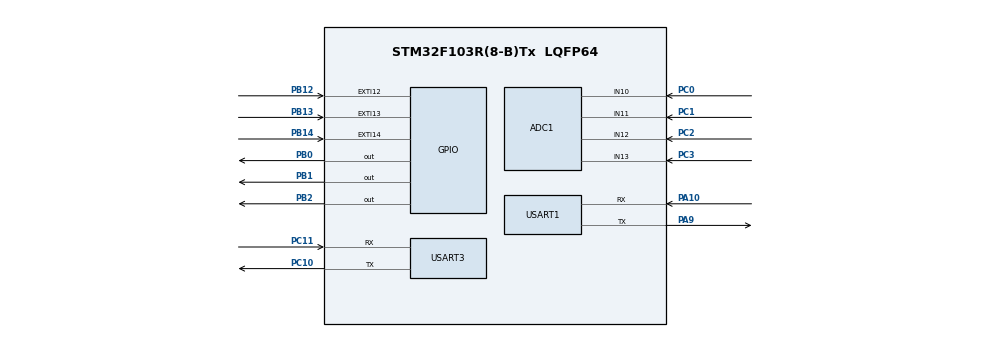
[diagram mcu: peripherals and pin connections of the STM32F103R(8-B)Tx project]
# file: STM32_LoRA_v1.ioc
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ADC1.Channel-0\#ChannelRegularConversion=ADC_CHANNEL_10
ADC1.Channel-1\#ChannelRegularConversion=ADC_CHANNEL_10
ADC1.Channel-2\#ChannelRegularConversion=ADC_CHANNEL_10
ADC1.Channel-3\#ChannelRegularConversion=ADC_CHANNEL_10
ADC1.ExternalTrigConv=ADC_EXTERNALTRIGCONV_T3_TRGO
ADC1.NbrOfConversion=4
ADC1.NbrOfConversionFlag=1
ADC1.Rank-0\#ChannelRegularConversion=1
ADC1.Rank-1\#ChannelRegularConversion=2
ADC1.Rank-2\#ChannelRegularConversion=3
ADC1.Rank-3\#ChannelRegularConversion=4
ADC1.SamplingTime-0\#ChannelRegularConversion=ADC_SAMPLETIME_1CYCLE_5
ADC1.SamplingTime-1\#ChannelRegularConversion=ADC_SAMPLETIME_1CYCLE_5
ADC1.SamplingTime-2\#ChannelRegularConversion=ADC_SAMPLETIME_1CYCLE_5
ADC1.SamplingTime-3\#ChannelRegularConversion=ADC_SAMPLETIME_1CYCLE_5
ADC1.master=1
Dma.ADC1.0.Direction=DMA_PERIPH_TO_MEMORY
Dma.ADC1.0.Instance=DMA1_Channel1
Dma.ADC1.0.MemDataAlignment=DMA_MDATAALIGN_HALFWORD
Dma.ADC1.0.MemInc=DMA_MINC_ENABLE
Dma.ADC1.0.Mode=DMA_CIRCULAR
Dma.ADC1.0.PeriphDataAlignment=DMA_PDATAALIGN_HALFWORD
Dma.ADC1.0.PeriphInc=DMA_PINC_DISABLE
Dma.ADC1.0.Priority=DMA_PRIORITY_HIGH
Dma.Request0=ADC1
Mcu.Family=STM32F1
Mcu.Name=STM32F103R(8-B)Tx
Mcu.Package=LQFP64
NVIC.DMA1_Channel1_IRQn=true\:0\:0\:false\:false\:true\:false
NVIC.EXTI15_10_IRQn=true\:0\:0\:false\:false\:true\:true
NVIC.PriorityGroup=NVIC_PRIORITYGROUP_4
NVIC.TIM2_IRQn=true\:0\:0\:false\:false\:true\:true
NVIC.TIM3_IRQn=true\:0\:0\:false\:false\:true\:true
NVIC.USART1_IRQn=true\:0\:0\:false\:false\:true\:true
NVIC.USART3_IRQn=true\:0\:0\:false\:false\:true\:true
PA10.Mode=Asynchronous
PA10.Signal=USART1_RX
PA13.Mode=Serial_Wire
PA13.Signal=SYS_JTMS-SWDIO
PA14.Mode=Serial_Wire
PA14.Signal=SYS_JTCK-SWCLK
PA9.Mode=Asynchronous
PA9.Signal=USART1_TX
PB0.Signal=GPIO_Output
PB1.Signal=GPIO_Output
PB12.Signal=GPXTI12
PB13.Signal=GPXTI13
PB14.Signal=GPXTI14
PB2.Signal=GPIO_Output
PC0.Signal=ADCx_IN10
PC1.Signal=ADCx_IN11
PC10.Mode=Asynchronous
PC10.Signal=USART3_TX
PC11.Mode=Asynchronous
PC11.Signal=USART3_RX
PC2.Signal=ADCx_IN12
PC3.Signal=ADCx_IN13
PD0-OSC_IN.Mode=HSE-External-Oscillator
PD0-OSC_IN.Signal=RCC_OSC_IN
PD1-OSC_OUT.Mode=HSE-External-Oscillator
PD1-OSC_OUT.Signal=RCC_OSC_OUT
ProjectManager.HeapSize=0x200
ProjectManager.StackSize=0x400
ProjectManager.TargetToolchain=MDK-ARM V5
RCC.ADCPresc=RCC_ADCPCLK2_DIV6
RCC.AHBFreq_Value=72000000
RCC.APB1CLKDivider=RCC_HCLK_DIV2
RCC.APB1Freq_Value=36000000
RCC.APB1TimFreq_Value=72000000
RCC.APB2Freq_Value=72000000
RCC.APB2TimFreq_Value=72000000
RCC.HCLKFreq_Value=72000000
RCC.PLLMUL=RCC_PLL_MUL9
RCC.PLLSourceVirtual=RCC_PLLSOURCE_HSE
RCC.SYSCLKFreq_VALUE=72000000
RCC.SYSCLKSource=RCC_SYSCLKSOURCE_PLLCLK
RCC.USBFreq_Value=72000000
SH.ADCx_IN10.0=ADC1_IN10,IN10
SH.ADCx_IN11.0=ADC1_IN11,IN11
SH.ADCx_IN12.0=ADC1_IN12,IN12
SH.ADCx_IN13.0=ADC1_IN13,IN13
TIM2.Prescaler=50000
TIM3.TIM_MasterOutputTrigger=TIM_TRGO_UPDATE
USART1.VirtualMode=VM_ASYNC
USART3.VirtualMode=VM_ASYNC
VP_TIM2_VS_ClockSourceINT.Mode=Internal
VP_TIM3_VS_ClockSourceINT.Mode=Internal
board=custom

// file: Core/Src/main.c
/* USER CODE BEGIN Header */
/**
  ******************************************************************************
  * @file           : main.c
  * @brief          : Main program body
  ******************************************************************************
  ** This notice applies to any and all portions of this file
  * that are not between comment pairs USER CODE BEGIN and
  * USER CODE END. Other portions of this file, whether
  * inserted by the user or by software development tools
  * are owned by their respective copyright owners.
  *
  * COPYRIGHT(c) 2019 STMicroelectronics
  *
  * Redistribution and use in source and binary forms, with or without modification,
  * are permitted provided that the following conditions are met:
  *   1. Redistributions of source code must retain the above copyright notice,
  *      this list of conditions and the following disclaimer.
  *   2. Redistributions in binary form must reproduce the above copyright notice,
  *      this list of conditions and the following disclaimer in the documentation
  *      and/or other materials provided with the distribution.
  *   3. Neither the name of STMicroelectronics nor the names of its contributors
  *      may be used to endorse or promote products derived from this software
  *      without specific prior written permission.
  *
  * THIS SOFTWARE IS PROVIDED BY THE COPYRIGHT HOLDERS AND CONTRIBUTORS "AS IS"
  * AND ANY EXPRESS OR IMPLIED WARRANTIES, INCLUDING, BUT NOT LIMITED TO, THE
  * IMPLIED WARRANTIES OF MERCHANTABILITY AND FITNESS FOR A PARTICULAR PURPOSE ARE
  * DISCLAIMED. IN NO EVENT SHALL THE COPYRIGHT HOLDER OR CONTRIBUTORS BE LIABLE
  * FOR ANY DIRECT, INDIRECT, INCIDENTAL, SPECIAL, EXEMPLARY, OR CONSEQUENTIAL
  * DAMAGES (INCLUDING, BUT NOT LIMITED TO, PROCUREMENT OF SUBSTITUTE GOODS OR
  * SERVICES; LOSS OF USE, DATA, OR PROFITS; OR BUSINESS INTERRUPTION) HOWEVER
  * CAUSED AND ON ANY THEORY OF LIABILITY, WHETHER IN CONTRACT, STRICT LIABILITY,
  * OR TORT (INCLUDING NEGLIGENCE OR OTHERWISE) ARISING IN ANY WAY OUT OF THE USE
  * OF THIS SOFTWARE, EVEN IF ADVISED OF THE POSSIBILITY OF SUCH DAMAGE.
  *
  ******************************************************************************
  */
/* USER CODE END Header */

#include "main.h"
#include "string.h"
#include "stdio.h"
#include "DS18B20.h"

uint8_t Radio_OK_Received = 0;
uint8_t Radio_NOK_received = 0;
uint8_t AT_NOK_Received = 1;
#define ADC_DELAY_ENABLE_CALIB_CPU_CYCLES  (LL_ADC_DELAY_ENABLE_CALIB_ADC_CYCLES * 32)
#define ADC_CONVERTED_DATA_BUFFER_SIZE   ((uint32_t)   4)
__IO uint16_t aADCxConvertedData[4]; /* ADC group regular conversion data */
__IO uint16_t MQ2A_Data, MQ2B_Data, FRAMECLICK_Data, DS18B20_Data  = 0;
__IO uint8_t MQ2A_Data_Ok, MQ2B_Data_Ok, FRAMECLICK_Data_Ok, DS18B20_Data_Ok = 0;
__IO uint8_t ASCII_CODE[16] = {"0123456789ABCDEF"};

void SystemClock_Config(void);
static void MX_GPIO_Init(void);
static void MX_DMA_Init(void);
static void MX_USART1_UART_Init(void);
static void MX_USART3_UART_Init(void);
static void MX_ADC1_Init(void);
static void MX_TIM2_Init(void);
static void MX_TIM3_Init(void);

/* USER CODE BEGIN 0 */
int fputc (int ch, FILE *stream)
{
	while(!LL_USART_IsActiveFlag_TXE(USART1));
	LL_USART_TransmitData8(USART1,ch);
	return ch ;
}
void delay(uint32_t ms)
{
	uint32_t i,y;
	for(i=0; i<ms; i++)
	{
		for(y = 0; y<7200; y++)
		{
			__NOP();
		}
	}
}
    /* USER CODE END WHILE */
		//LL_GPIO_TogglePin(GPIOB, LL_GPIO_PIN_1)	;
uint8_t AtCmd_AT[4] = "AT\r\n";
uint8_t AtCmd_Poll[1] = "$";
uint32_t AT_timeout = 3;
uint8_t AT_cnt = 0;
void AT_poll()
{
	Radio_OK_Received = 0;
	while(!LL_USART_IsActiveFlag_TXE(USART3));
	LL_USART_TransmitData8(USART3,'$');
}

uint8_t AT_send(uint8_t *cmd)
{
	uint8_t Cmd_Ok = 0;
	AT_cnt = AT_timeout;
	AT_poll();
	while(!Radio_OK_Received)
	{
		delay(100);
		if(AT_cnt ==0 )
		{
			return 0;
		}else if (Radio_NOK_received)
		{
			Radio_NOK_received = 0;
			return 0 ;
		}
		AT_cnt--;

	}
	Radio_OK_Received = 0;
	uint8_t i = 0;

	for( i = 0; i<6; i++)
	{
		while(!LL_USART_IsActiveFlag_TXE(USART3));
		LL_USART_TransmitData8(USART3,cmd[i]);
		while(!LL_USART_IsActiveFlag_TXE(USART1));
		LL_USART_TransmitData8(USART1,cmd[i]);
	}

	return 1;
}

/* USER CODE END 0 */

float temprature = 0;
__IO uint16_t _temprature = 0;
int main(void)
{

  /* MCU Configuration--------------------------------------------------------*/
  LL_GPIO_AF_Remap_SWJ_NOJTAG();

  /* Reset of all peripherals, Initializes the Flash interface and the Systick. */

  LL_APB2_GRP1_EnableClock(LL_APB2_GRP1_PERIPH_AFIO);
  LL_APB1_GRP1_EnableClock(LL_APB1_GRP1_PERIPH_PWR);

  NVIC_SetPriorityGrouping(NVIC_PRIORITYGROUP_4);

  /* System interrupt init*/

  /* Configure the system clock */
  SystemClock_Config();

  /* Initialize all configured peripherals */
  MX_GPIO_Init();

  MX_USART1_UART_Init();
  MX_USART3_UART_Init();
	MX_TIM2_Init();
	MX_TIM3_Init();
	MX_ADC1_Init();
  MX_DMA_Init();
  uint8_t a = DS18B20_Init();

	printf("\r\n\fHello World123\r\n");
	__IO uint8_t Msg_Frame[6]="LLLLLL";
	__IO uint8_t Msg_MQ2A[6] = "MMMMMM";
	__IO uint8_t Msg_MQ2B[6] = "NNNNNN";
	__IO uint8_t Msg_DS18B20[6] ="TTTTTT";
	LL_APB2_GRP1_EnableClock(LL_APB2_GRP1_PERIPH_GPIOC);
  /* Infinite loop */
  /* USER CODE BEGIN WHILE */
	printf("hello world\r\n");
  while (1)
  {

		__disable_irq();

		temprature = DS18B20_GetTemp_SkipRom();
		_temprature = temprature*10;
		//printf(" %d\r\n", _temprature);
		Msg_DS18B20[4] = ASCII_CODE[(_temprature)&0x0f];
		Msg_DS18B20[3] = ASCII_CODE[ _temprature>>4& 0x0f ];
		Msg_DS18B20[2] = ASCII_CODE[(_temprature>>8)&0x0f];
		Msg_DS18B20[1] = ASCII_CODE[_temprature>>12&0x0f];
		__enable_irq();

		AT_send(Msg_DS18B20);
		uint8_t i = 0;

		if(MQ2A_Data_Ok)
		{
			MQ2A_Data_Ok = 0;
			Msg_MQ2A[4] = ASCII_CODE[MQ2A_Data&0x0f];
			Msg_MQ2A[3] = ASCII_CODE[MQ2A_Data>>4& 0x0f];
			Msg_MQ2A[2] = ASCII_CODE[MQ2A_Data>>8&0x0f];
			Msg_MQ2A[1] = ASCII_CODE[MQ2A_Data>>12&0x0f];
			AT_send(Msg_MQ2A);
		}
		if(MQ2B_Data_Ok)
		{
			MQ2B_Data_Ok = 0;
			Msg_MQ2B[4] = ASCII_CODE[MQ2B_Data&0x0f];
			Msg_MQ2B[3] = ASCII_CODE[MQ2B_Data>>4& 0x0f];
			Msg_MQ2B[2] = ASCII_CODE[MQ2B_Data>>8&0x0f];
			Msg_MQ2B[1] = ASCII_CODE[MQ2B_Data>>12&0x0f];
			AT_send(Msg_MQ2B);
		}

		if(FRAMECLICK_Data_Ok)
		{
			FRAMECLICK_Data_Ok = 0;
			Msg_Frame[4] = ASCII_CODE[FRAMECLICK_Data&0x0f];
			Msg_Frame[3] = ASCII_CODE[FRAMECLICK_Data>>4& 0x0f];
			Msg_Frame[2] = ASCII_CODE[FRAMECLICK_Data>>8&0x0f];
			Msg_Frame[1] = ASCII_CODE[FRAMECLICK_Data>>12&0x0f];
			AT_send(Msg_Frame);
		}

		//delay(100);

		/*
		__disable_irq();
		temprature = DS18B20_GetTemp_SkipRom();
		printf("%f\r\n", temprature);
		__enable_irq();
		delay(1000);
		*/

    /* USER CODE END WHILE */
		/*
		AT_send(AtCmd_AT);
		delay(1000);

		if(Radio_OK_Received)
		{
			Radio_OK_Received = 0;
			//printf("Received AT\r\n");
		}*/

    /* USER CODE BEGIN 3 */
    /* USER CODE BEGIN 3 */
  }
  /* USER CODE END 3 */
}

void SystemClock_Config(void)
{
  LL_FLASH_SetLatency(LL_FLASH_LATENCY_2);

  if(LL_FLASH_GetLatency() != LL_FLASH_LATENCY_2)
  {
    Error_Handler();
  }
  LL_RCC_HSE_Enable();

   /* Wait till HSE is ready */
  while(LL_RCC_HSE_IsReady() != 1)
  {

  }
  LL_RCC_PLL_ConfigDomain_SYS(LL_RCC_PLLSOURCE_HSE_DIV_1, LL_RCC_PLL_MUL_9);
  LL_RCC_PLL_Enable();

   /* Wait till PLL is ready */
  while(LL_RCC_PLL_IsReady() != 1)
  {

  }
  LL_RCC_SetAHBPrescaler(LL_RCC_SYSCLK_DIV_1);
  LL_RCC_SetAPB1Prescaler(LL_RCC_APB1_DIV_2);
  LL_RCC_SetAPB2Prescaler(LL_RCC_APB2_DIV_1);
  LL_RCC_SetSysClkSource(LL_RCC_SYS_CLKSOURCE_PLL);

   /* Wait till System clock is ready */
  while(LL_RCC_GetSysClkSource() != LL_RCC_SYS_CLKSOURCE_STATUS_PLL)
  {

  }
  LL_Init1msTick(72000000);
  LL_SYSTICK_SetClkSource(LL_SYSTICK_CLKSOURCE_HCLK);
  LL_SetSystemCoreClock(72000000);
  LL_RCC_SetADCClockSource(LL_RCC_ADC_CLKSRC_PCLK2_DIV_6);
}

static void MX_ADC1_Init(void)
{
  __IO uint32_t wait_loop_index = 0;

  LL_ADC_InitTypeDef ADC_InitStruct = {0};
  LL_ADC_CommonInitTypeDef ADC_CommonInitStruct = {0};
  LL_ADC_REG_InitTypeDef ADC_REG_InitStruct = {0};

  LL_GPIO_InitTypeDef GPIO_InitStruct = {0};

  /* Peripheral clock enable */
  LL_APB2_GRP1_EnableClock(LL_APB2_GRP1_PERIPH_ADC1);

  LL_APB2_GRP1_EnableClock(LL_APB2_GRP1_PERIPH_GPIOC);
  /**ADC1 GPIO Configuration
  PC0   ------> ADC1_IN10
  PC1   ------> ADC1_IN11
  PC2   ------> ADC1_IN12
  PC3   ------> ADC1_IN13
  */
  GPIO_InitStruct.Pin = LL_GPIO_PIN_0|LL_GPIO_PIN_1|LL_GPIO_PIN_2|LL_GPIO_PIN_3;
  GPIO_InitStruct.Mode = LL_GPIO_MODE_ANALOG;
	GPIO_InitStruct.Pull = LL_GPIO_PULL_DOWN;
  LL_GPIO_Init(GPIOC, &GPIO_InitStruct);

  /* ADC1 DMA Init */

  /* ADC1 Init */
  LL_DMA_SetDataTransferDirection(DMA1, LL_DMA_CHANNEL_1, LL_DMA_DIRECTION_PERIPH_TO_MEMORY);

  LL_DMA_SetChannelPriorityLevel(DMA1, LL_DMA_CHANNEL_1, LL_DMA_PRIORITY_HIGH);

  LL_DMA_SetMode(DMA1, LL_DMA_CHANNEL_1, LL_DMA_MODE_CIRCULAR);

  LL_DMA_SetPeriphIncMode(DMA1, LL_DMA_CHANNEL_1, LL_DMA_PERIPH_NOINCREMENT);

  LL_DMA_SetMemoryIncMode(DMA1, LL_DMA_CHANNEL_1, LL_DMA_MEMORY_INCREMENT);

  LL_DMA_SetPeriphSize(DMA1, LL_DMA_CHANNEL_1, LL_DMA_PDATAALIGN_HALFWORD);

  LL_DMA_SetMemorySize(DMA1, LL_DMA_CHANNEL_1, LL_DMA_MDATAALIGN_HALFWORD);

  /**Common config
  */

  ADC_InitStruct.DataAlignment = LL_ADC_DATA_ALIGN_RIGHT;
  ADC_InitStruct.SequencersScanMode = LL_ADC_SEQ_SCAN_ENABLE;

  LL_ADC_Init(ADC1, &ADC_InitStruct);
  ADC_CommonInitStruct.Multimode = LL_ADC_MULTI_INDEPENDENT;
  LL_ADC_CommonInit(__LL_ADC_COMMON_INSTANCE(ADC1), &ADC_CommonInitStruct);
  ADC_REG_InitStruct.TriggerSource = LL_ADC_REG_TRIG_EXT_TIM3_TRGO;
  ADC_REG_InitStruct.SequencerLength = LL_ADC_REG_SEQ_SCAN_ENABLE_4RANKS;
  ADC_REG_InitStruct.SequencerDiscont = LL_ADC_REG_SEQ_DISCONT_DISABLE;
  ADC_REG_InitStruct.ContinuousMode = LL_ADC_REG_CONV_SINGLE;
  ADC_REG_InitStruct.DMATransfer = LL_ADC_REG_DMA_TRANSFER_UNLIMITED;
  LL_ADC_REG_Init(ADC1, &ADC_REG_InitStruct);

  /**Configure Regular Channel
  */

  LL_ADC_REG_SetSequencerRanks(ADC1, LL_ADC_REG_RANK_4, LL_ADC_CHANNEL_10);
  LL_ADC_SetChannelSamplingTime(ADC1, LL_ADC_CHANNEL_10, LL_ADC_SAMPLINGTIME_1CYCLE_5);
  /**Configure Regular Channel
  */
  LL_ADC_REG_SetSequencerRanks(ADC1, LL_ADC_REG_RANK_3, LL_ADC_CHANNEL_11);
  LL_ADC_SetChannelSamplingTime(ADC1, LL_ADC_CHANNEL_11, LL_ADC_SAMPLINGTIME_1CYCLE_5);
  /**Configure Regular Channel
  */
  LL_ADC_REG_SetSequencerRanks(ADC1, LL_ADC_REG_RANK_1, LL_ADC_CHANNEL_12);
  LL_ADC_SetChannelSamplingTime(ADC1, LL_ADC_CHANNEL_12, LL_ADC_SAMPLINGTIME_1CYCLE_5);
  /**Configure Regular Channel
  */
  LL_ADC_REG_SetSequencerRanks(ADC1, LL_ADC_REG_RANK_2, LL_ADC_CHANNEL_13);
  LL_ADC_SetChannelSamplingTime(ADC1, LL_ADC_CHANNEL_13, LL_ADC_SAMPLINGTIME_1CYCLE_5);
  /* USER CODE BEGIN ADC1_Init 2 */
	LL_ADC_Enable(ADC1);
	/*
	wait_loop_index = (ADC_DELAY_ENABLE_CALIB_CPU_CYCLES >> 1);
	while(wait_loop_index != 0)
	{
		wait_loop_index--;
	}
	*/
	//LL_ADC_SetMultimode(__LL_ADC_COMMON_INSTANCE(ADC1), LL_ADC_MULTI_INDEPENDENT);
	//LL_ADC_SetSequencersScanMode(ADC1, LL_ADC_SEQ_SCAN_ENABLE);
  //LL_ADC_REG_SetSequencerLength(ADC1, LL_ADC_REG_SEQ_SCAN_ENABLE_4RANKS);
	//LL_ADC_REG_SetSequencerDiscont(ADC1,LL_ADC_REG_SEQ_DISCONT_4RANKS);
	LL_ADC_REG_StartConversionSWStart(ADC1);
	//LL_ADC_REG_StartConversionExtTrig(ADC1,LL_ADC_REG_TRIG_EXT_RISING);
	LL_ADC_StartCalibration(ADC1);
		//LL_ADC_REG_StartConversionExtTrig	(ADC1,LL_ADC_REG_TRIG_EXT_RISING);
  /* USER CODE END ADC1_Init 2 */

}

static void MX_TIM2_Init(void)
{

  LL_TIM_InitTypeDef TIM_InitStruct = {0};

  /* Peripheral clock enable */
  LL_APB1_GRP1_EnableClock(LL_APB1_GRP1_PERIPH_TIM2);

  /* TIM2 interrupt Init */
  NVIC_SetPriority(TIM2_IRQn, NVIC_EncodePriority(NVIC_GetPriorityGrouping(),0, 0));
  NVIC_EnableIRQ(TIM2_IRQn);

  TIM_InitStruct.Prescaler = 50000;
  TIM_InitStruct.CounterMode = LL_TIM_COUNTERMODE_UP;
  TIM_InitStruct.Autoreload = 0;
  TIM_InitStruct.ClockDivision = LL_TIM_CLOCKDIVISION_DIV1;
  LL_TIM_Init(TIM2, &TIM_InitStruct);
  LL_TIM_DisableARRPreload(TIM2);
  LL_TIM_SetClockSource(TIM2, LL_TIM_CLOCKSOURCE_INTERNAL);
  LL_TIM_SetTriggerOutput(TIM2, LL_TIM_TRGO_RESET);
  LL_TIM_DisableMasterSlaveMode(TIM2);

}

static void MX_TIM3_Init(void)
{

  LL_TIM_InitTypeDef TIM_InitStruct = {0};

  /* Peripheral clock enable */
  LL_APB1_GRP1_EnableClock(LL_APB1_GRP1_PERIPH_TIM3);

  /* TIM3 interrupt Init */
  NVIC_SetPriority(TIM3_IRQn, NVIC_EncodePriority(NVIC_GetPriorityGrouping(),0, 0));
  NVIC_EnableIRQ(TIM3_IRQn);

  TIM_InitStruct.Prescaler = 10000-1;
  TIM_InitStruct.CounterMode = LL_TIM_COUNTERMODE_UP;
  TIM_InitStruct.Autoreload = 7200-1;
  TIM_InitStruct.ClockDivision = LL_TIM_CLOCKDIVISION_DIV4;
  LL_TIM_Init(TIM3, &TIM_InitStruct);
  LL_TIM_DisableARRPreload(TIM3);
  LL_TIM_SetClockSource(TIM3, LL_TIM_CLOCKSOURCE_INTERNAL);
  LL_TIM_SetTriggerOutput(TIM3, LL_TIM_TRGO_UPDATE);
  LL_TIM_DisableMasterSlaveMode(TIM3);
  /* USER CODE BEGIN TIM3_Init 2 */
	LL_TIM_GenerateEvent_TRIG	(TIM3);
  LL_TIM_EnableCounter(TIM3);
	LL_TIM_EnableIT_UPDATE(TIM3);
  /* USER CODE END TIM3_Init 2 */

}

static void MX_USART1_UART_Init(void)
{

  LL_USART_InitTypeDef USART_InitStruct = {0};

  LL_GPIO_InitTypeDef GPIO_InitStruct = {0};

  /* Peripheral clock enable */
  LL_APB2_GRP1_EnableClock(LL_APB2_GRP1_PERIPH_USART1);

  LL_APB2_GRP1_EnableClock(LL_APB2_GRP1_PERIPH_GPIOA);
  /**USART1 GPIO Configuration
  PA9   ------> USART1_TX
  PA10   ------> USART1_RX
  */
  GPIO_InitStruct.Pin = LL_GPIO_PIN_9;
  GPIO_InitStruct.Mode = LL_GPIO_MODE_ALTERNATE;
  GPIO_InitStruct.Speed = LL_GPIO_SPEED_FREQ_HIGH;
  GPIO_InitStruct.OutputType = LL_GPIO_OUTPUT_PUSHPULL;
  LL_GPIO_Init(GPIOA, &GPIO_InitStruct);

  GPIO_InitStruct.Pin = LL_GPIO_PIN_10;
  GPIO_InitStruct.Mode = LL_GPIO_MODE_FLOATING;
  LL_GPIO_Init(GPIOA, &GPIO_InitStruct);

  /* USART1 interrupt Init */
  NVIC_SetPriority(USART1_IRQn, NVIC_EncodePriority(NVIC_GetPriorityGrouping(),0, 0));
  NVIC_EnableIRQ(USART1_IRQn);

  USART_InitStruct.BaudRate = 115200;
  USART_InitStruct.DataWidth = LL_USART_DATAWIDTH_8B;
  USART_InitStruct.StopBits = LL_USART_STOPBITS_1;
  USART_InitStruct.Parity = LL_USART_PARITY_NONE;
  USART_InitStruct.TransferDirection = LL_USART_DIRECTION_TX_RX;
  USART_InitStruct.HardwareFlowControl = LL_USART_HWCONTROL_NONE;
  LL_USART_Init(USART1, &USART_InitStruct);
  LL_USART_ConfigAsyncMode(USART1);
  LL_USART_Enable(USART1);
  /* USER CODE BEGIN USART1_Init 2 */
	LL_USART_EnableIT_RXNE(USART1);
  /* USER CODE END USART1_Init 2 */

}

static void MX_USART3_UART_Init(void)
{

  LL_USART_InitTypeDef USART_InitStruct = {0};

  LL_GPIO_InitTypeDef GPIO_InitStruct = {0};

  /* Peripheral clock enable */
  LL_APB1_GRP1_EnableClock(LL_APB1_GRP1_PERIPH_USART3);

  LL_APB2_GRP1_EnableClock(LL_APB2_GRP1_PERIPH_GPIOC);
  /**USART3 GPIO Configuration
  PC10   ------> USART3_TX
  PC11   ------> USART3_RX
  */
  GPIO_InitStruct.Pin = LL_GPIO_PIN_10;
  GPIO_InitStruct.Mode = LL_GPIO_MODE_ALTERNATE;
  GPIO_InitStruct.Speed = LL_GPIO_SPEED_FREQ_HIGH;
  GPIO_InitStruct.OutputType = LL_GPIO_OUTPUT_PUSHPULL;
  LL_GPIO_Init(GPIOC, &GPIO_InitStruct);

  GPIO_InitStruct.Pin = LL_GPIO_PIN_11;
  GPIO_InitStruct.Mode = LL_GPIO_MODE_FLOATING;
  LL_GPIO_Init(GPIOC, &GPIO_InitStruct);

  LL_GPIO_AF_RemapPartial_USART3();

  /* USART3 interrupt Init */
  NVIC_SetPriority(USART3_IRQn, NVIC_EncodePriority(NVIC_GetPriorityGrouping(),0, 0));
  NVIC_EnableIRQ(USART3_IRQn);

  USART_InitStruct.BaudRate = 115200;
  USART_InitStruct.DataWidth = LL_USART_DATAWIDTH_8B;
  USART_InitStruct.StopBits = LL_USART_STOPBITS_1;
  USART_InitStruct.Parity = LL_USART_PARITY_NONE;
  USART_InitStruct.TransferDirection = LL_USART_DIRECTION_TX_RX;
  USART_InitStruct.HardwareFlowControl = LL_USART_HWCONTROL_NONE;
  LL_USART_Init(USART3, &USART_InitStruct);
  LL_USART_ConfigAsyncMode(USART3);
  LL_USART_Enable(USART3);
  /* USER CODE BEGIN USART3_Init 2 */
	LL_USART_EnableIT_RXNE(USART3);
  /* USER CODE END USART3_Init 2 */

}

static void MX_DMA_Init(void)
{
  /* Init with LL driver */
  /* DMA controller clock enable */
  LL_AHB1_GRP1_EnableClock(LL_AHB1_GRP1_PERIPH_DMA1);

  /* DMA interrupt init */
  /* DMA1_Channel1_IRQn interrupt configuration */
  NVIC_SetPriority(DMA1_Channel1_IRQn, NVIC_EncodePriority(NVIC_GetPriorityGrouping(),0, 0));
  NVIC_EnableIRQ(DMA1_Channel1_IRQn);
	 LL_DMA_ConfigTransfer(DMA1,
                        LL_DMA_CHANNEL_1,
                        LL_DMA_DIRECTION_PERIPH_TO_MEMORY |
                        LL_DMA_MODE_CIRCULAR              |
                        LL_DMA_PERIPH_NOINCREMENT         |
                        LL_DMA_MEMORY_INCREMENT           |
                        LL_DMA_PDATAALIGN_HALFWORD        |
                        LL_DMA_MDATAALIGN_HALFWORD        |
                        LL_DMA_PRIORITY_HIGH               );
	LL_DMA_ConfigAddresses(DMA1,
                         LL_DMA_CHANNEL_1,
                         LL_ADC_DMA_GetRegAddr(ADC1, LL_ADC_DMA_REG_REGULAR_DATA),
                         (uint32_t)&aADCxConvertedData,
                         LL_DMA_DIRECTION_PERIPH_TO_MEMORY);
	LL_DMA_SetDataLength(DMA1,
                         LL_DMA_CHANNEL_1,
                       4);
	LL_DMA_EnableIT_TC(DMA1,
                        LL_DMA_CHANNEL_1);
	LL_DMA_EnableChannel(DMA1,
                       LL_DMA_CHANNEL_1);
}

static void MX_GPIO_Init(void)
{
  LL_GPIO_InitTypeDef GPIO_InitStruct = {0};
  LL_EXTI_InitTypeDef EXTI_InitStruct = {0};

  /* GPIO Ports Clock Enable */
  LL_APB2_GRP1_EnableClock(LL_APB2_GRP1_PERIPH_GPIOD);
  LL_APB2_GRP1_EnableClock(LL_APB2_GRP1_PERIPH_GPIOC);
  LL_APB2_GRP1_EnableClock(LL_APB2_GRP1_PERIPH_GPIOB);
  LL_APB2_GRP1_EnableClock(LL_APB2_GRP1_PERIPH_GPIOA);

  /**/
  LL_GPIO_ResetOutputPin(GPIOB, LL_GPIO_PIN_0|LL_GPIO_PIN_1|LL_GPIO_PIN_2);

  /**/
  GPIO_InitStruct.Pin = LL_GPIO_PIN_0|LL_GPIO_PIN_1|LL_GPIO_PIN_2;
  GPIO_InitStruct.Mode = LL_GPIO_MODE_OUTPUT;
  GPIO_InitStruct.Speed = LL_GPIO_SPEED_FREQ_LOW;
  GPIO_InitStruct.OutputType = LL_GPIO_OUTPUT_PUSHPULL;
  LL_GPIO_Init(GPIOB, &GPIO_InitStruct);

  /**/
  LL_GPIO_AF_SetEXTISource(LL_GPIO_AF_EXTI_PORTB, LL_GPIO_AF_EXTI_LINE12);

  /**/
  LL_GPIO_AF_SetEXTISource(LL_GPIO_AF_EXTI_PORTB, LL_GPIO_AF_EXTI_LINE13);

  /**/
  LL_GPIO_AF_SetEXTISource(LL_GPIO_AF_EXTI_PORTB, LL_GPIO_AF_EXTI_LINE14);

  /**/
  EXTI_InitStruct.Line_0_31 = LL_EXTI_LINE_12;
  EXTI_InitStruct.LineCommand = ENABLE;
  EXTI_InitStruct.Mode = LL_EXTI_MODE_IT;
  EXTI_InitStruct.Trigger = LL_EXTI_TRIGGER_RISING;
  LL_EXTI_Init(&EXTI_InitStruct);

  /**/
  EXTI_InitStruct.Line_0_31 = LL_EXTI_LINE_13;
  EXTI_InitStruct.LineCommand = ENABLE;
  EXTI_InitStruct.Mode = LL_EXTI_MODE_IT;
  EXTI_InitStruct.Trigger = LL_EXTI_TRIGGER_RISING;
  LL_EXTI_Init(&EXTI_InitStruct);

  /**/
  EXTI_InitStruct.Line_0_31 = LL_EXTI_LINE_14;
  EXTI_InitStruct.LineCommand = ENABLE;
  EXTI_InitStruct.Mode = LL_EXTI_MODE_IT;
  EXTI_InitStruct.Trigger = LL_EXTI_TRIGGER_RISING;
  LL_EXTI_Init(&EXTI_InitStruct);

  /**/
  LL_GPIO_SetPinMode(GPIOB, LL_GPIO_PIN_12, LL_GPIO_MODE_FLOATING);

  /**/
  LL_GPIO_SetPinMode(GPIOB, LL_GPIO_PIN_13, LL_GPIO_MODE_FLOATING);

  /**/
  LL_GPIO_SetPinMode(GPIOB, LL_GPIO_PIN_14, LL_GPIO_MODE_FLOATING);

  /* EXTI interrupt init*/
  NVIC_SetPriority(EXTI15_10_IRQn, NVIC_EncodePriority(NVIC_GetPriorityGrouping(),0, 0));
  NVIC_EnableIRQ(EXTI15_10_IRQn);

}

void Error_Handler(void)
{
}

/************************ (C) COPYRIGHT STMicroelectronics *****END OF FILE****/
